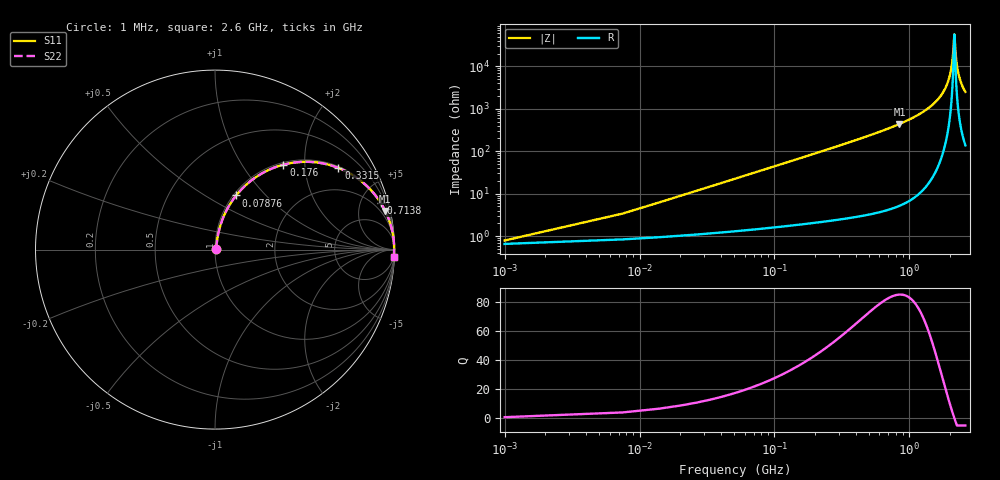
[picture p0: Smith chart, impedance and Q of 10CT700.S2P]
! Coilcraft 1008CT-700 Chip Inductor
! 17 July 2002
# MHZ S MA R 50
!Freq  MagS11  AngS11  MagS21  AngS21  MagS12  AngS12  MagS22  AngS22
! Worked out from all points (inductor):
!   403 points, 1 MHz to 2.6 GHz, reference 50 ohm
!   read as one part in series: L = 70 nH near 13.96 MHz
!   highest Q = 84.8 at 843.4 MHz (marker M1), where L = 82.7 nH
!   self-resonance near 2.152 GHz
!   S11 on the Smith chart (normalised r, x): 1 MHz: 1.01, +0.01; 78.76 MHz: 1.03, +0.69; 176 MHz: 1.04, +1.56; 331.5 MHz: 1.05, +2.99; 713.8 MHz: 1.09, +7.05; 2.6 GHz: 4, -50
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1  0.007838 33.6  0.9935 -0.3  0.9935 -0.3  0.007838 33.6
20.44  0.08922 78.4  0.986 -5.1  0.986 -5.1  0.08922 78.4
26.92  0.1168 78.0  0.9825 -6.7  0.9825 -6.7  0.1168 78.0
46.36  0.1979 75.1  0.9681 -11.4  0.9681 -11.4  0.1979 75.1
78.76  0.3237 68.7  0.9324 -18.9  0.9324 -18.9  0.3237 68.7
175.96  0.6073 51.2  0.7793 -37.4  0.7793 -37.4  0.6073 51.2
331.48  0.8244 33.5  0.552 -55.5  0.552 -55.5  0.8244 33.5
435.16  0.8888 26.4  0.4454 -62.7  0.4454 -62.7  0.8888 26.4
713.8  0.959 15.8  0.2719 -73.5  0.2719 -73.5  0.959 15.8
843.4  0.9724 12.8  0.2219 -76.5  0.2219 -76.5  0.9724 12.8
869.32  0.9745 12.3  0.2133 -77.0  0.2133 -77.0  0.9745 12.3
1303.48  0.9923 6.3  0.1097 -82.8  0.1097 -82.8  0.9923 6.3
1737.64  0.9974 2.6  0.0456 -85.4  0.0456 -85.4  0.9974 2.6
1996.84  0.9982 0.9  0.01606 -83.2  0.01606 -83.2  0.9982 0.9
2081.08  0.9983 0.4  0.007458 -76.3  0.007458 -76.3  0.9983 0.4
2145.88  0.9982 0.0  0.001931 -24.3  0.001931 -24.3  0.9982 0.0
2158.84  0.9982 -0.0  0.001831 14.9  0.001831 14.9  0.9982 -0.0
2171.8  0.9982 -0.1  0.002484 44.2  0.002484 44.2  0.9982 -0.1
2223.64  0.9982 -0.4  0.006947 74.4  0.006947 74.4  0.9982 -0.4
2301.4  0.998 -0.8  0.01408 81.5  0.01408 81.5  0.998 -0.8
2424.52  0.9977 -1.4  0.02505 84.0  0.02505 84.0  0.9977 -1.4
2600  0.997 -2.3  0.03989 84.6  0.03989 84.6  0.997 -2.3
